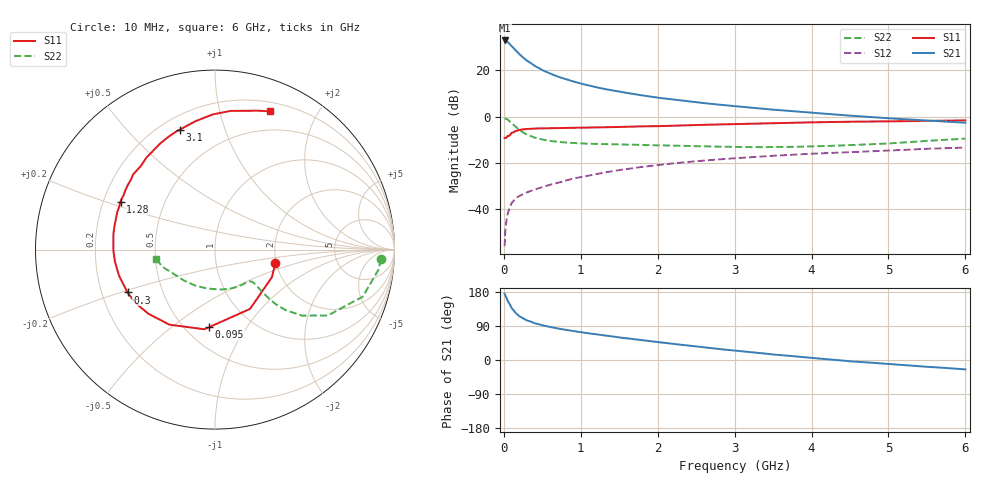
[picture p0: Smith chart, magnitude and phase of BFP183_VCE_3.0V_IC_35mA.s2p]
! Infineon Technologies  Discrete & RF Semiconductors
! BFP183
! VCE = 3.0 V,  IC =  35 mA
! Common Emitter S-Parameters:  Jan 2016
# GHz  S  MA  R  50
!  f  S11  S21  S12  S22
! GHz  MAG  ANG  MAG  ANG  MAG  ANG  MAG  ANG
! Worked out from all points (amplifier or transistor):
!   210 points, 10 MHz to 6 GHz, reference 50 ohm
!   highest |S21| = 32.9 dB at 10 MHz (marker M1)
!   |S21| within 3 dB of that: start of sweep to 118.3 MHz
!   unconditionally stable (mu >= 1): 533.3 MHz to 5.8 GHz
!   at 185 MHz: K = 0.55, MSG = 31.1 dB, |S12| = -34.6 dB
!   at 1.52 GHz: K = 1.22, MAG = 14.0 dB, |S12| = -23.0 dB
!   at 6 GHz: K = 0.97, MSG = 5.4 dB, |S12| = -13.3 dB
!   S11 on the Smith chart (normalised r, x): 10 MHz: 1.98, -0.34; 95 MHz: 0.65, -0.69; 300 MHz: 0.31, -0.21; 1.28 GHz: 0.27, +0.22; 3.1 GHz: 0.27, +0.71; 6 GHz: 0.29, +1.44
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0.01  0.345 -12.6  44.1 174.9  0.0016 75.9  0.9272 -3.3
0.02  0.3524 -26.0  43.84 170.2  0.0037 82.1  0.9166 -7.2
0.05  0.3838 -59.4  41.09 155.8  0.008 71.9  0.8636 -17.7
0.095  0.4339 -94.5  34.26 139.6  0.0129 59.9  0.7397 -28.8
0.1  0.4479 -97.6  33.7 137.4  0.0135 59.1  0.728 -30.3
0.15  0.4894 -121.3  27.39 124.6  0.0169 54.6  0.6081 -37.2
0.2  0.5152 -136.1  22.49 115.6  0.0194 52.3  0.5184 -40.6
0.24  0.5289 -144.2  19.55 110.7  0.0208 51.9  0.4681 -41.7
0.3  0.5428 -153.9  16.2 104.5  0.0232 51.3  0.4092 -42.2
0.4  0.5542 -164.7  12.53 97.0  0.0266 53.5  0.3531 -41.9
0.5  0.5614 -173.1  10.1 91.5  0.0301 54.5  0.3197 -41.3
0.6  0.5659 -179.2  8.546 87.0  0.0341 56.6  0.2991 -40.7
0.7  0.5681 175.5  7.311 83.2  0.0372 57.1  0.2855 -40.6
0.8  0.5726 171.0  6.464 79.6  0.0414 58.3  0.2768 -40.7
1.02  0.5791 161.9  5.077 72.8  0.0504 58.9  0.2636 -42.3
1.28  0.5901 153.1  4.042 65.6  0.0611 58.4  0.2556 -45.6
1.68  0.6085 140.8  3.086 55.1  0.0773 56.4  0.2476 -52.4
2.02  0.624 131.1  2.543 46.9  0.0908 53.5  0.2411 -59.3
3.1  0.6964 106.4  1.625 23.0  0.1295 43.5  0.2206 -89.0
4.1  0.757 89.5  1.181 3.8  0.1609 34.0  0.2301 -122.0
5.1  0.7942 76.9  0.901 -11.8  0.1882 25.8  0.2698 -150.8
6  0.8297 68.2  0.741 -24.7  0.2151 17.1  0.3359 -170.7
